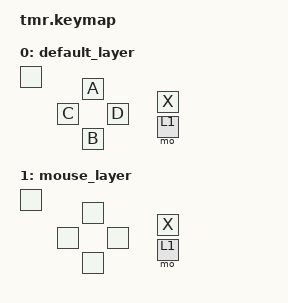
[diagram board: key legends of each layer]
#include <behaviors.dtsi>
#include <dt-bindings/zmk/keys.h>

/ {
    keymap {
        compatible = "zmk,keymap";

        default_layer {
            /* pos 0: kscan dummy
               pos 1-4: stick0 up/down/left/right
               pos 5-6: stick1 left/right */
            bindings = <
                &none
                &kp A &kp B &kp C &kp D
                &kp X &mo 1
            >;
        };

        mouse_layer {
            /* Stick0 in mouse mode — no keymap bindings needed.
               Stick1 keeps same bindings (X key + mo 1). */
            bindings = <
                &none
                &none &none &none &none
                &kp X &mo 1
            >;
        };
    };
};
